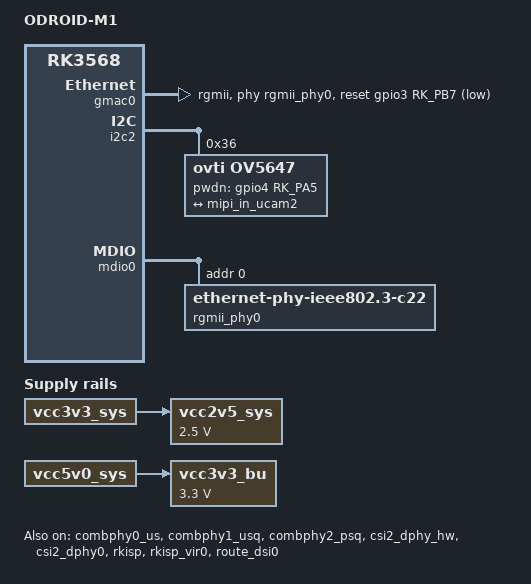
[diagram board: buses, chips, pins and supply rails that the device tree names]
// SPDX-License-Identifier: (GPL-2.0+ OR MIT)
/*
 * Copyright (c) 2021 Hardkernel Co., Ltd.
 *
 */

/dts-v1/;

#include <dt-bindings/gpio/gpio.h>
#include <dt-bindings/pinctrl/rockchip.h>
#include "rk3568.dtsi"
#include "rk3568-odroid.dtsi"

/ {
	model = "ODROID-M1";
	compatible = "rockchip,rk3568";

	vcc2v5_sys: vcc2v5-ddr {
		compatible = "regulator-fixed";
		regulator-name = "vcc2v5-sys";
		regulator-always-on;
		regulator-boot-on;
		regulator-min-microvolt = <2500000>;
		regulator-max-microvolt = <2500000>;
		vin-supply = <&vcc3v3_sys>;
	};

	vcc3v3_bu: vcc3v3-bu {
		compatible = "regulator-fixed";
		regulator-name = "vcc3v3_bu";
		regulator-always-on;
		regulator-boot-on;
		regulator-min-microvolt = <3300000>;
		regulator-max-microvolt = <3300000>;
		vin-supply = <&vcc5v0_sys>;
	};
};

&combphy0_us {
	status = "okay";
};

&combphy1_usq {
	status = "okay";
};

&combphy2_psq {
	status = "okay";
};

&csi2_dphy_hw {
	status = "okay";
};

&csi2_dphy0 {
	status = "okay";

	ports {
		#address-cells = <1>;
		#size-cells = <0>;
		port@0 {
			reg = <0>;
			#address-cells = <1>;
			#size-cells = <0>;

			mipi_in_ucam2: endpoint@3 {
				reg = <3>;
				remote-endpoint = <&ov5647_out>;
				data-lanes = <1 2>;
			};
		};
		port@1 {
			reg = <1>;
			#address-cells = <1>;
			#size-cells = <0>;

			csidphy_out: endpoint@0 {
				reg = <0>;
				remote-endpoint = <&isp0_in>;
			};
		};
	};
};

/*
 * mipi_dphy0 needs to be enabled
 * when dsi0 is enabled
 */
&dsi0 {
	status = "disabled";
};

&dsi0_in_vp0 {
	status = "disabled";
};

&dsi0_in_vp1 {
	status = "disabled";
};

&gmac0 {
	phy-mode = "rgmii";
	clock_in_out = "output";

	snps,reset-gpio = <&gpio3 RK_PB7 GPIO_ACTIVE_LOW>;
	snps,reset-active-low;
	/* Reset time is 20ms, 100ms for rtl8211f */
	snps,reset-delays-us = <0 20000 100000>;

	assigned-clocks = <&cru SCLK_GMAC0_RX_TX>, <&cru SCLK_GMAC0>;
	assigned-clock-parents = <&cru SCLK_GMAC0_RGMII_SPEED>, <&cru CLK_MAC0_2TOP>;
	assigned-clock-rates = <0>, <125000000>;

	pinctrl-names = "default";
	pinctrl-0 = <&gmac0_miim
		     &gmac0_tx_bus2
		     &gmac0_rx_bus2
		     &gmac0_rgmii_clk
		     &gmac0_rgmii_bus>;

	tx_delay = <0x3c>;
	rx_delay = <0x2f>;

	phy-handle = <&rgmii_phy0>;

	status = "okay";
};

&i2c2 {
	status = "okay";
	pinctrl-names = "default";
	pinctrl-0 = <&i2c2m1_xfer>;

	ov5647: ov5647@36 {
		status = "okay";
		compatible = "ovti,ov5647";
		reg = <0x36>;
		clocks = <&pmucru CLK_WIFI>;
		clock-names = "xvclk";
		power-domains = <&power RK3568_PD_VI>;
		pinctrl-names = "default";
		pinctrl-0 = <&refclk_pins &cam_pwdn>;

		/*reset-gpios = <&gpio3 RK_PA5 GPIO_ACTIVE_LOW>;*/
		pwdn-gpios = <&gpio4 RK_PA5 GPIO_ACTIVE_HIGH>;
		/*power-gpios = <&gpio0 RK_PC1 GPIO_ACTIVE_HIGH>;*/

		rockchip,camera-module-index = <0>;
		rockchip,camera-module-facing = "back";
		rockchip,camera-module-name = "TongJu";
		rockchip,camera-module-lens-name = "CHT842-MD";

		port {
			ov5647_out: endpoint {
				remote-endpoint = <&mipi_in_ucam2>;
				data-lanes = <1 2>;
			};
		};
	};
};

&mdio0 {
	rgmii_phy0: phy@0 {
		compatible = "ethernet-phy-ieee802.3-c22";
		reg = <0x0>;
	};
};

&pcie30phy {
	status = "disabled";
};

&pcie3x2 {
	status = "disabled";
};

&pinctrl {
	sii902x {
		sii902x_hdmi_int: sii902x-hdmi-int {
			rockchip,pins = <3 RK_PA0 RK_FUNC_GPIO &pcfg_pull_up>;
		};
	};
	camif {
		cam_pwdn: cam-pwdn {
			rockchip,pins = <4 RK_PA5 RK_FUNC_GPIO &pcfg_pull_none>;
		};
	};
};

&pmu_io_domains {
	pmuio2-supply = <&vcc3v3_pmu>;
	vccio1-supply = <&vccio_acodec>;
	vccio3-supply = <&vccio_sd>;
	vccio4-supply = <&vcc_1v8>;
	vccio5-supply = <&vcc_3v3>;
	vccio6-supply = <&vcc_3v3>;
	vccio7-supply = <&vcc_3v3>;
};

&rkisp {
	status = "okay";
};

&rkisp_mmu {
	status = "okay";
};

&rkisp_vir0 {
	status = "okay";

	port {
		#address-cells = <1>;
		#size-cells = <0>;

		isp0_in: endpoint@0 {
			reg = <0>;
			remote-endpoint = <&csidphy_out>;
		};
	};
};

&route_dsi0 {
	status = "okay";
	connect = <&vp1_out_dsi0>;
};

&bus_npu {
	status = "disabled";
};

&rknpu {
	status = "disabled";
};

&rknpu_mmu {
	status = "disabled";
};
